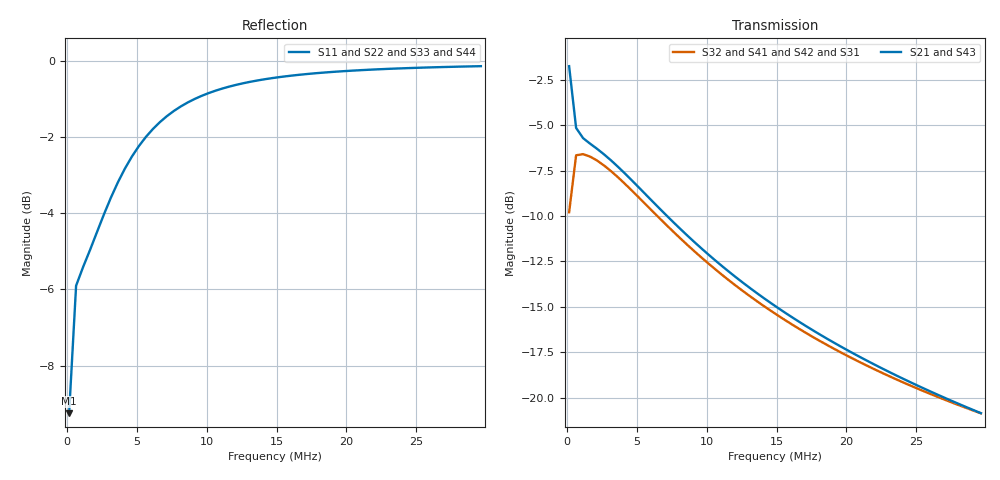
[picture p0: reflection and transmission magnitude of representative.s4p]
! Created with skrf 2.1.0 (http://scikit-rf.org).
# Hz S RI R 50.0
!freq ReS11 ImS11 ReS12 ImS12 ReS13 ImS13
! ReS14 ImS14
! ReS21 ImS21 ReS22 ImS22 ReS23 ImS23
! ReS24 ImS24
! ReS31 ImS31 ReS32 ImS32 ReS33 ImS33
! ReS34 ImS34
! ReS41 ImS41 ReS42 ImS42 ReS43 ImS43
! ReS44 ImS44
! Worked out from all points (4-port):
!   60 points, 150 kHz to 29.63 MHz, reference 50 ohm
!   strongest paths, dB at 150 kHz, 7.644 MHz, 15.14 MHz, 22.63 MHz, 29.63 MHz:
!     S21: -1.8, -10.4, -15.1, -18.4, -20.9
!     S43: -1.8, -10.4, -15.1, -18.4, -20.9
!     S32: -9.8, -10.9, -15.5, -18.7, -20.9
!     S41: -9.8, -10.9, -15.5, -18.7, -20.9
!     S42: -9.8, -10.9, -15.5, -18.8, -21.1
!     S31: -9.8, -10.9, -15.6, -18.8, -21.1
!   lowest |S11| = -9.3 dB at 150 kHz (marker M1), VSWR 2.05, Z = 65.8 + j39 ohm
!   |S11| at or under -10 dB: nowhere
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150000  0.2244 0.2616  0.7743 -0.2617  0.2245 0.2345  -0.2232 -0.2345
        0.7743 -0.2617  0.2244 0.2616  -0.2232 -0.2345  0.2245 0.2345
        0.2245 0.2345  -0.2232 -0.2345  0.2244 0.2616  0.7743 -0.2617
        -0.2232 -0.2345  0.2245 0.2345  0.7743 -0.2617  0.2244 0.2616
649625  0.4751 0.1766  0.5236 -0.1769  0.4617 0.0622  -0.4604 -0.0621
        0.5236 -0.1769  0.4751 0.1766  -0.4604 -0.0619  0.4617 0.0622
        0.4617 0.0622  -0.4604 -0.0619  0.4751 0.1766  0.5236 -0.1769
        -0.4604 -0.0621  0.4617 0.0622  0.5236 -0.1769  0.4751 0.1766
2148500  0.5602 0.2041  0.4384 -0.2051  0.4317 -0.1288  -0.4304 0.129
         0.4384 -0.2051  0.5602 0.2041  -0.4304 0.1291  0.4317 -0.1289
         0.4317 -0.1288  -0.4304 0.1291  0.5602 0.2041  0.4385 -0.2051
         -0.4304 0.129  0.4317 -0.1289  0.4385 -0.2051  0.5602 0.2041
4646625  0.7021 0.2605  0.2965 -0.2626  0.2943 -0.2276  -0.293 0.228
         0.2965 -0.2626  0.7021 0.2605  -0.293 0.228  0.2943 -0.2278
         0.2943 -0.2276  -0.293 0.228  0.7021 0.2605  0.2965 -0.2626
         -0.293 0.228  0.2943 -0.2278  0.2965 -0.2626  0.7021 0.2605
8144000  0.8379 0.2385  0.1606 -0.2421  0.1592 -0.2227  -0.1579 0.2235
         0.1606 -0.2421  0.838 0.2385  -0.1579 0.2235  0.1591 -0.2229
         0.1592 -0.2227  -0.1579 0.2235  0.8379 0.2385  0.1606 -0.2421
         -0.1579 0.2235  0.1591 -0.2229  0.1606 -0.2421  0.838 0.2385
1.264062e7  0.9163 0.1841  0.082 -0.1895  0.0808 -0.1777  -0.0795 0.179
            0.082 -0.1895  0.9164 0.184  -0.0795 0.179  0.0807 -0.178
            0.0808 -0.1777  -0.0795 0.179  0.9163 0.1841  0.082 -0.1895
            -0.0795 0.179  0.0807 -0.178  0.082 -0.1895  0.9164 0.184
2.962788e7  0.9809 0.0766  0.0173 -0.0889  0.0161 -0.0863  -0.0148 0.0893
            0.0173 -0.0889  0.981 0.0765  -0.0148 0.0893  0.016 -0.0869
            0.0161 -0.0863  -0.0148 0.0893  0.9809 0.0767  0.0173 -0.089
            -0.0148 0.0893  0.016 -0.0869  0.0173 -0.089  0.981 0.0765
